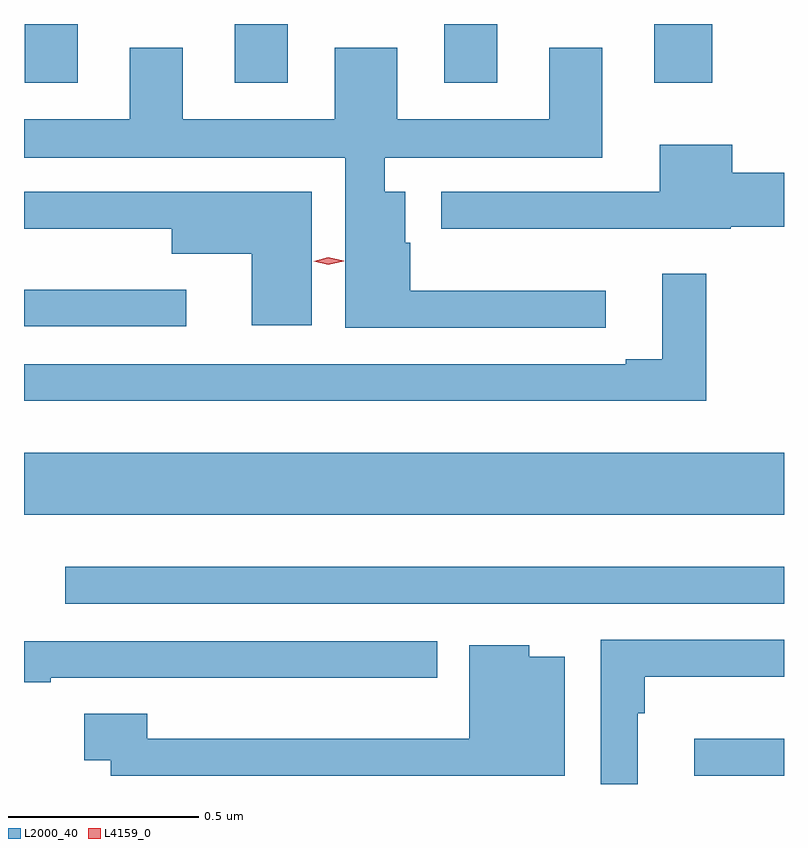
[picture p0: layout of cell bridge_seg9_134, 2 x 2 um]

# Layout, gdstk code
import gdstk
lib = gdstk.Library(unit=1e-6, precision=1e-09)
def R(c, l, rs):  # rectangles x0, y0, x1, y1
    for r in rs: c.add(gdstk.rectangle(r[:2], r[2:], *l))
def A(c, l, x, y, w, h, nx, ny, dx, dy):  # array of equal rectangles
    R(c, l, [(x+i*dx, y+j*dy, x+i*dx+w, y+j*dy+h) for i in range(nx) for j in range(ny)])
def P(c, l, *ps):  # polygons
    for p in ps: c.add(gdstk.Polygon(p, *l))
L2000_40 = (2000, 40)
L4159_0 = (4159, 0)

bridge_seg9_134 = lib.new_cell('bridge_seg9_134')
A(bridge_seg9_134, L2000_40, 447.563, 1205.55, 0.14, 0.154, 3, 1, 0.552, 0)
R(bridge_seg9_134, L2000_40, [(449.325,1203.726,449.561,1203.823), (447.669,1204.179,449.561,1204.276), (447.561,1204.412,449.561,1204.576), (447.561,1204.908,447.988,1205.005), (449.219,1205.55,449.372,1205.704)])
P(bridge_seg9_134, L2000_40, [(449.092,1205.002),(448.577,1205.002),(448.577,1205.129),(448.564,1205.129),(448.564,1205.263),(448.51,1205.263),(448.51,1205.352),(449.083,1205.352),(449.083,1205.641),(448.943,1205.641),(448.943,1205.453),(448.543,1205.453),(448.543,1205.641),(448.379,1205.641),(448.379,1205.453),(447.979,1205.453),(447.979,1205.641),(447.839,1205.641),(447.839,1205.453),(447.561,1205.453),(447.561,1205.352),(448.406,1205.352),(448.406,1204.905),(449.092,1204.905)],
  [(449.421,1205.171),(449.561,1205.171),(449.561,1205.313),(449.425,1205.313),(449.425,1205.386),(449.234,1205.386),(449.234,1205.262),(448.659,1205.262),(448.659,1205.165),(449.421,1205.165)],
  [(448.318,1205.263),(448.054,1205.263),(448.054,1205.262),(447.561,1205.262),(447.561,1205.165),(447.95,1205.165),(447.95,1205.099),(448.16,1205.099),(448.16,1204.911),(448.318,1204.911)],
  [(449.357,1205.047),(449.24,1205.047),(449.24,1204.822),(449.144,1204.822),(449.144,1204.809),(447.561,1204.809),(447.561,1204.712),(449.357,1204.712)],
  [(449.176,1203.89),(449.195,1203.89),(449.195,1203.986),(449.561,1203.986),(449.561,1204.083),(449.079,1204.083),(449.079,1203.704),(449.176,1203.704)],
  [(447.632,1203.984),(447.982,1203.984),(447.982,1203.983),(448.648,1203.983),(448.648,1204.08),(447.561,1204.08),(447.561,1203.972),(447.632,1203.972)],
  [(448.984,1204.039),(448.891,1204.039),(448.891,1204.069),(448.733,1204.069),(448.733,1203.823),(447.885,1203.823),(447.885,1203.889),(447.72,1203.889),(447.72,1203.767),(447.789,1203.767),(447.789,1203.726),(448.984,1203.726)])
P(bridge_seg9_134, L4159_0, [(448.362,1205.07),(448.323,1205.08),(448.322,1205.08),(448.323,1205.08),(448.362,1205.09),(448.402,1205.081),(448.402,1205.081),(448.402,1205.08)])

lib.write_gds('bridge_seg9_134.gds')
